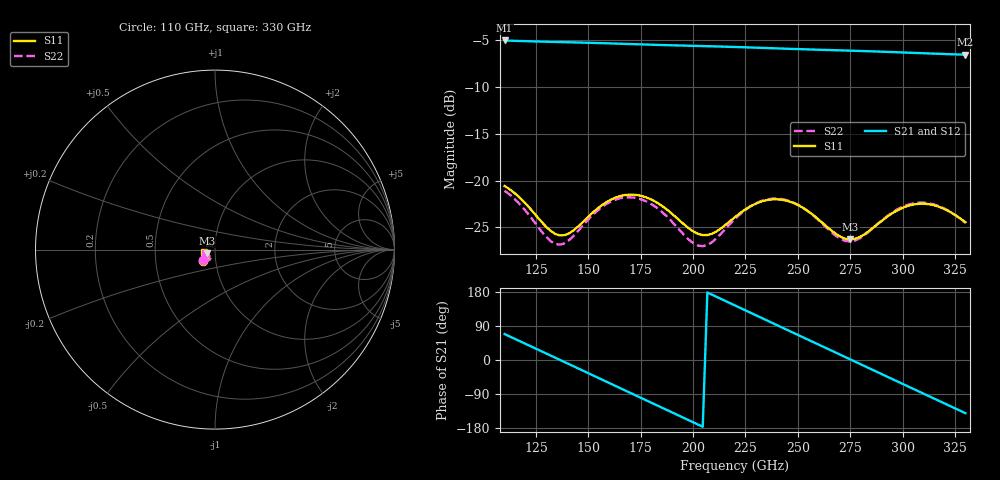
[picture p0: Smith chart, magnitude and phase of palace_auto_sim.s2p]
#  GHZ S DB R 50
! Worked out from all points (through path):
!   101 points, 110 GHz to 330 GHz, reference 50 ohm
!   highest |S21| = -5.03 dB at 110 GHz (marker M1); lowest = -6.6 dB at 330 GHz (marker M2)
!   group delay of S21, straight-line fit = 7.18 ps
!   lowest |S11| = -26.3 dB at 275 GHz (marker M3), VSWR 1.10, Z = 45.8 - j1.99 ohm
!   |S11| at or under -10 dB: start of sweep to end of sweep
!   |S22| runs from -27.0 to -21.1 dB; largest |S21 - S12| = 9.1e-13
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110  -20.57 -137.2  -5.03 68.4  -5.03 68.4  -21.08 -138.2
121  -22.69 -147.9  -5.12 40.0  -5.12 40.0  -23.49 -148.6
129.8  -24.92 -146.0  -5.17 17.4  -5.17 17.4  -26.00 -144.5
138.6  -25.82 -132.4  -5.22 -5.4  -5.22 -5.4  -26.69 -127.2
147.4  -24.41 -122.9  -5.26 -28.2  -5.26 -28.2  -24.78 -117.7
158.4  -22.32 -126.9  -5.33 -56.7  -5.33 -56.7  -22.53 -123.7
167.2  -21.55 -136.4  -5.40 -79.5  -5.40 -79.5  -21.80 -134.3
176  -21.67 -146.9  -5.46 -102.3  -5.46 -102.3  -22.06 -145.6
184.8  -22.64 -155.3  -5.52 -125.0  -5.52 -125.0  -23.28 -154.4
195.8  -24.70 -157.2  -5.58 -153.4  -5.58 -153.4  -25.82 -154.6
204.6  -25.82 -147.9  -5.63 -176.2  -5.63 -176.2  -27.00 -140.6
220  -23.89 -135.5  -5.73 143.9  -5.73 143.9  -24.09 -126.5
231  -22.36 -141.9  -5.81 115.4  -5.81 115.4  -22.32 -134.8
239.8  -21.99 -150.9  -5.88 92.6  -5.88 92.6  -21.91 -144.9
248.6  -22.45 -159.7  -5.94 69.9  -5.94 69.9  -22.41 -154.6
257.4  -23.69 -165.5  -6.01 47.2  -6.01 47.2  -23.74 -160.9
275  -26.28 -153.5  -6.12 1.7  -6.12 1.7  -26.50 -147.5
283.8  -25.41 -143.2  -6.18 -21.1  -6.18 -21.1  -25.46 -136.4
294.8  -23.53 -142.8  -6.27 -49.5  -6.27 -49.5  -23.44 -136.6
303.6  -22.63 -149.2  -6.34 -72.3  -6.34 -72.3  -22.51 -143.5
312.4  -22.51 -157.4  -6.42 -95.0  -6.42 -95.0  -22.41 -152.1
330  -24.43 -167.4  -6.56 -140.3  -6.56 -140.3  -24.52 -162.3
